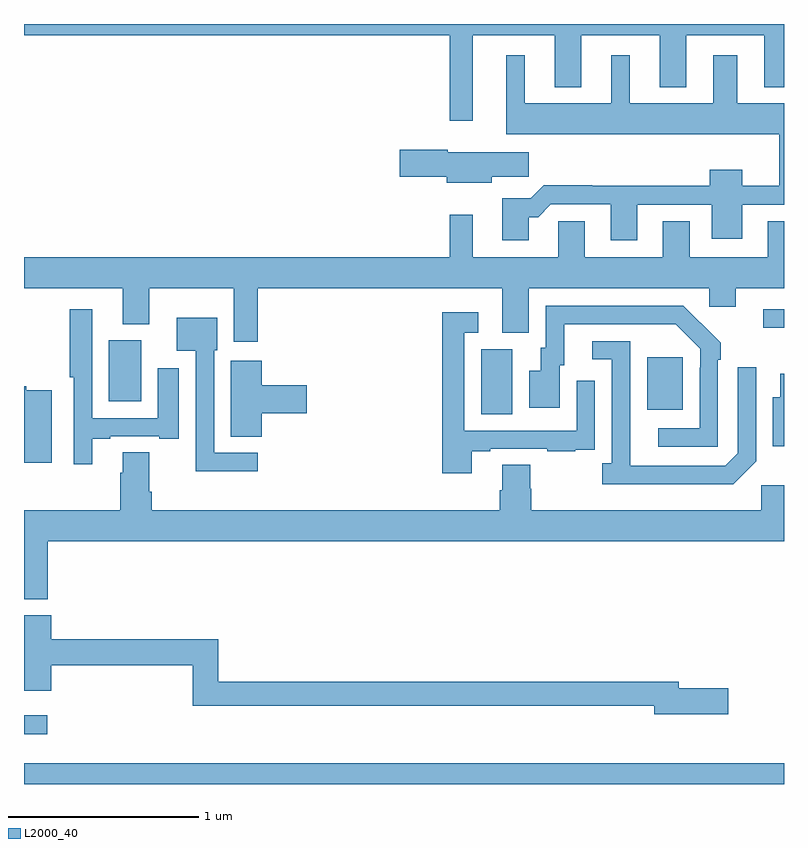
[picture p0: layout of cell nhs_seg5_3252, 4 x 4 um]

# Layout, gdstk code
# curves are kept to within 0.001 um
import gdstk
lib = gdstk.Library(unit=1e-6, precision=1e-09)
def R(c, l, rs):  # rectangles x0, y0, x1, y1
    for r in rs: c.add(gdstk.rectangle(r[:2], r[2:], *l))
def P(c, l, *ps):  # polygons
    for p in ps: c.add(gdstk.Polygon(p, *l))
L2000_40 = (2000, 40)

nhs_seg5_3252 = lib.new_cell('nhs_seg5_3252')
R(nhs_seg5_3252, L2000_40, [(299,872.799,303,872.908), (299,873.062,299.122,873.16), (301.406,874.744,301.57,875.088), (302.279,874.769,302.467,875.044), (299.447,874.814,299.617,875.134), (302.892,875.2,303,875.298)])
P(nhs_seg5_3252, L2000_40, [(301.363,876.74),(301.793,876.74),(301.793,876.467),(301.933,876.467),(301.933,876.74),(302.345,876.74),(302.345,876.467),(302.485,876.467),(302.485,876.74),(302.897,876.74),(302.897,876.467),(303,876.467),(303,876.799),(299,876.799),(299,876.74),(301.242,876.74),(301.242,876.291),(301.363,876.291)],
  [(301.657,875.783),(301.706,875.783),(301.773,875.85),(302.087,875.85),(302.087,875.661),(302.227,875.661),(302.227,875.847),(302.621,875.847),(302.621,875.669),(302.779,875.669),(302.779,875.847),(303,875.847),(303,876.382),(302.755,876.382),(302.755,876.634),(302.627,876.634),(302.627,876.382),(302.188,876.382),(302.188,876.634),(302.09,876.634),(302.09,876.382),(301.636,876.382),(301.636,876.634),(301.538,876.634),(301.538,876.218),(302.975,876.218),(302.975,875.948),(302.779,875.948),(302.779,876.031),(302.609,876.031),(302.609,875.948),(301.991,875.948),(301.991,875.951),(301.736,875.951),(301.666,875.881),(301.517,875.881),(301.517,875.661),(301.657,875.661)],
  [(301.462,875.995),(301.657,875.995),(301.657,876.124),(301.23,876.124),(301.23,876.137),(300.978,876.137),(300.978,875.995),(301.226,875.995),(301.226,875.963),(301.462,875.963)],
  [(300.23,875.408),(301.517,875.408),(301.517,875.173),(301.657,875.173),(301.657,875.408),(302.607,875.408),(302.607,875.31),(302.746,875.31),(302.746,875.408),(303,875.408),(303,875.762),(302.915,875.762),(302.915,875.572),(302.503,875.572),(302.503,875.762),(302.363,875.762),(302.363,875.572),(301.951,875.572),(301.951,875.762),(301.812,875.762),(301.812,875.572),(301.363,875.572),(301.363,875.794),(301.242,875.794),(301.242,875.572),(299,875.572),(299,875.408),(299.519,875.408),(299.519,875.219),(299.659,875.219),(299.659,875.408),(300.104,875.408),(300.104,875.127),(300.23,875.127)],
  [(302.652,875.033),(302.667,875.033),(302.667,875.121),(302.47,875.316),(301.746,875.316),(301.746,875.094),(301.721,875.094),(301.721,874.975),(301.658,874.975),(301.658,874.779),(301.819,874.779),(301.819,875.004),(301.843,875.004),(301.843,875.22),(302.431,875.22),(302.559,875.091),(302.559,874.991),(302.556,874.991),(302.556,874.671),(302.337,874.671),(302.337,874.575),(302.652,874.575)],
  [(299.359,874.617),(299.455,874.617),(299.455,874.629),(299.711,874.629),(299.711,874.617),(299.815,874.617),(299.815,874.987),(299.705,874.987),(299.705,874.725),(299.358,874.725),(299.358,875.299),(299.242,875.299),(299.242,874.939),(299.262,874.939),(299.262,874.482),(299.359,874.482)],
  [(301.357,874.551),(301.453,874.551),(301.453,874.563),(301.753,874.563),(301.753,874.551),(301.901,874.551),(301.901,874.557),(302.003,874.557),(302.003,874.666),(302.004,874.666),(302.004,874.921),(301.908,874.921),(301.908,874.659),(301.317,874.659),(301.317,875.175),(301.39,875.175),(301.39,875.281),(301.201,875.281),(301.201,874.434),(301.357,874.434)],
  [(300.229,874.542),(300,874.542),(300,875.082),(300.016,875.082),(300.016,875.254),(299.804,875.254),(299.804,875.078),(299.904,875.078),(299.904,874.445),(300.229,874.445)],
  [(302.853,874.497),(302.853,874.993),(302.757,874.993),(302.757,874.539),(302.691,874.473),(302.191,874.473),(302.19,875.13),(301.992,875.13),(301.992,875.034),(302.094,875.034),(302.094,874.486),(302.043,874.486),(302.043,874.376),(302.732,874.376)],
  [(300.251,874.751),(300.487,874.751),(300.487,874.898),(300.251,874.898),(300.251,875.026),(300.089,875.026),(300.089,874.627),(300.251,874.627)],
  [(303,874.957),(302.981,874.957),(302.981,874.834),(302.942,874.834),(302.942,874.577),(303,874.577)],
  [(299.146,874.872),(299.012,874.872),(299.012,874.892),(299,874.892),(299,874.491),(299.146,874.491)],
  [(299.126,874.076),(303,874.076),(303,874.372),(302.88,874.372),(302.88,874.24),(301.67,874.24),(301.67,874.353),(301.665,874.353),(301.665,874.478),(301.517,874.478),(301.517,874.346),(301.505,874.346),(301.505,874.24),(299.672,874.24),(299.672,874.336),(299.659,874.336),(299.659,874.544),(299.519,874.544),(299.519,874.436),(299.507,874.436),(299.507,874.24),(299,874.24),(299,873.772),(299.126,873.772)],
  [(302.707,873.302),(302.446,873.302),(302.446,873.338),(300.023,873.338),(300.023,873.56),(299.144,873.56),(299.144,873.687),(299,873.687),(299,873.291),(299.144,873.291),(299.144,873.424),(299.887,873.424),(299.887,873.21),(302.318,873.21),(302.318,873.167),(302.707,873.167)])

lib.write_gds('nhs_seg5_3252.gds')
